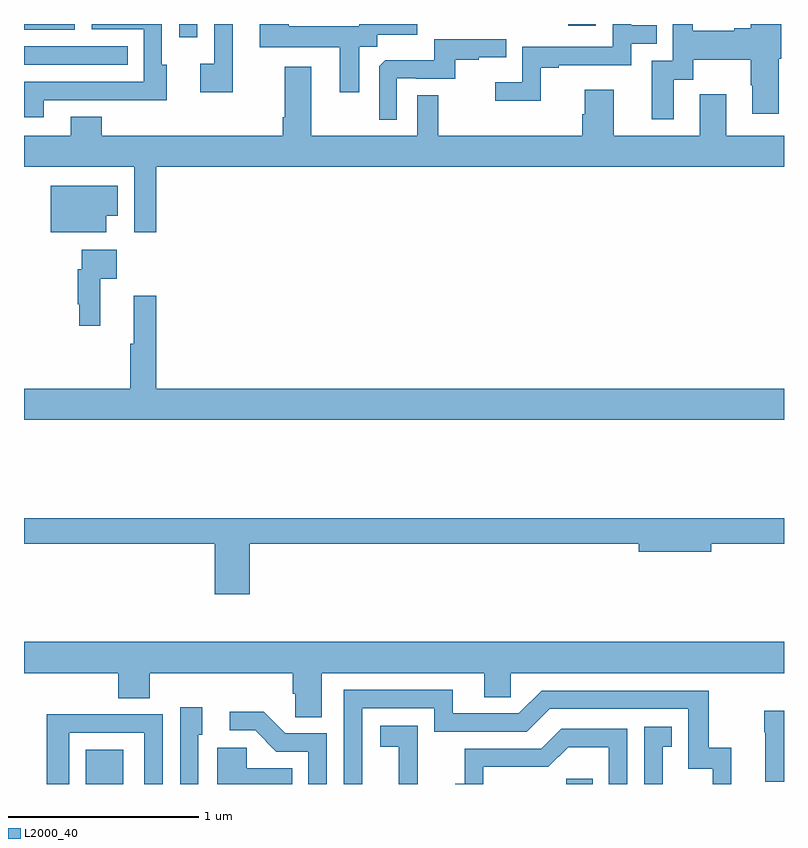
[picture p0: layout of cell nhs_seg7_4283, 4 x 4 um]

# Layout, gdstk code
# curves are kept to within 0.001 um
import gdstk
lib = gdstk.Library(unit=1e-6, precision=1e-09)
def R(c, l, rs):  # rectangles x0, y0, x1, y1
    for r in rs: c.add(gdstk.rectangle(r[:2], r[2:], *l))
def P(c, l, *ps):  # polygons
    for p in ps: c.add(gdstk.Polygon(p, *l))
L2000_40 = (2000, 40)

nhs_seg7_4283 = lib.new_cell('nhs_seg7_4283')
R(nhs_seg7_4283, L2000_40, [(381.326,1032,381.523,1032.181), (383.853,1032,383.993,1032.027), (381,1035.786,381.545,1035.882), (381.816,1035.93,381.912,1036), (381,1035.971,381.268,1036), (383.865,1035.992,384.01,1036)])
P(nhs_seg7_4283, L2000_40, [(384.421,1035.706),(384.523,1035.706),(384.523,1035.812),(384.826,1035.812),(384.826,1035.678),(384.833,1035.678),(384.833,1035.528),(384.973,1035.528),(384.973,1035.816),(384.986,1035.816),(384.986,1036),(384.826,1036),(384.826,1035.977),(384.737,1035.977),(384.737,1035.964),(384.519,1035.964),(384.519,1036),(384.414,1036),(384.414,1035.807),(384.305,1035.807),(384.305,1035.498),(384.421,1035.498)],
  [(382.765,1035.88),(382.86,1035.88),(382.86,1035.944),(383.071,1035.944),(383.071,1036),(382.764,1036),(382.764,1035.988),(382.393,1035.988),(382.393,1036),(382.241,1036),(382.241,1035.878),(382.661,1035.878),(382.661,1035.642),(382.765,1035.642)],
  [(383.721,1035.771),(383.815,1035.771),(383.815,1035.783),(384.195,1035.783),(384.195,1035.897),(384.329,1035.897),(384.329,1035.993),(384.195,1035.993),(384.195,1036),(384.099,1036),(384.099,1035.879),(383.622,1035.879),(383.622,1035.694),(383.481,1035.694),(383.481,1035.596),(383.721,1035.596)],
  [(382.099,1036),(382.002,1036),(382.002,1035.79),(381.927,1035.79),(381.927,1035.642),(382.099,1035.642)],
  [(381.103,1035.6),(381.533,1035.6),(381.533,1035.599),(381.751,1035.599),(381.751,1035.786),(381.726,1035.786),(381.726,1036),(381.357,1036),(381.357,1035.972),(381.63,1035.972),(381.63,1035.696),(381,1035.696),(381,1035.51),(381.103,1035.51)],
  [(382.962,1035.714),(383.062,1035.714),(383.062,1035.711),(383.27,1035.711),(383.27,1035.813),(383.393,1035.813),(383.393,1035.824),(383.537,1035.824),(383.537,1035.921),(383.16,1035.921),(383.16,1035.809),(382.901,1035.809),(382.869,1035.777),(382.869,1035.497),(382.962,1035.497)],
  [(385,1035.412),(384.697,1035.412),(384.697,1035.631),(384.557,1035.631),(384.557,1035.412),(384.103,1035.412),(384.103,1035.655),(383.951,1035.655),(383.951,1035.525),(383.939,1035.525),(383.939,1035.412),(383.179,1035.412),(383.179,1035.626),(383.07,1035.626),(383.07,1035.412),(382.513,1035.412),(382.513,1035.775),(382.373,1035.775),(382.373,1035.508),(382.361,1035.508),(382.361,1035.412),(381.409,1035.412),(381.409,1035.511),(381.245,1035.511),(381.245,1035.412),(381,1035.412),(381,1035.248),(381.579,1035.248),(381.579,1034.904),(381.695,1034.904),(381.695,1035.248),(385,1035.248)],
  [(381.433,1034.99),(381.494,1034.99),(381.494,1035.148),(381.14,1035.148),(381.14,1034.903),(381.433,1034.903)],
  [(381.401,1034.66),(381.487,1034.66),(381.487,1034.812),(381.303,1034.812),(381.303,1034.708),(381.283,1034.708),(381.283,1034.524),(381.291,1034.524),(381.291,1034.412),(381.401,1034.412)],
  [(385,1034.08),(381.695,1034.08),(381.695,1034.569),(381.578,1034.569),(381.578,1034.316),(381.559,1034.316),(381.559,1034.08),(381,1034.08),(381,1033.916),(385,1033.916)],
  [(382.187,1033.264),(384.236,1033.264),(384.236,1033.222),(384.616,1033.222),(384.616,1033.264),(385,1033.264),(385,1033.4),(381,1033.4),(381,1033.264),(382.004,1033.264),(382.004,1032.999),(382.187,1032.999)],
  [(382.567,1032.584),(383.423,1032.584),(383.423,1032.457),(383.562,1032.457),(383.562,1032.584),(385,1032.584),(385,1032.748),(381,1032.748),(381,1032.584),(381.497,1032.584),(381.497,1032.451),(381.662,1032.451),(381.662,1032.584),(382.415,1032.584),(382.415,1032.475),(382.428,1032.475),(382.428,1032.352),(382.567,1032.352)],
  [(382.779,1032.399),(383.16,1032.399),(383.16,1032.276),(383.646,1032.276),(383.766,1032.396),(384.495,1032.396),(384.495,1032.081),(384.624,1032.081),(384.624,1032),(384.722,1032),(384.722,1032.19),(384.604,1032.19),(384.604,1032.492),(383.724,1032.492),(383.604,1032.372),(383.257,1032.372),(383.257,1032.495),(382.683,1032.495),(382.683,1032),(382.779,1032)],
  [(381.918,1032.258),(381.937,1032.258),(381.937,1032.403),(381.822,1032.403),(381.822,1032),(381.918,1032)],
  [(385,1032.385),(384.895,1032.385),(384.895,1032.272),(384.902,1032.272),(384.902,1032.011),(385,1032.011)],
  [(382.593,1032.267),(382.374,1032.267),(382.261,1032.38),(382.083,1032.38),(382.083,1032.282),(382.217,1032.282),(382.328,1032.171),(382.497,1032.171),(382.497,1032),(382.593,1032)],
  [(381.237,1032.27),(381.633,1032.27),(381.633,1032),(381.729,1032),(381.729,1032.366),(381.413,1032.366),(381.413,1032.368),(381.121,1032.368),(381.121,1032),(381.237,1032)],
  [(383.072,1032.101),(383.073,1032.101),(383.073,1032.307),(382.875,1032.307),(382.875,1032.197),(382.973,1032.197),(382.973,1032),(383.072,1032)],
  [(384.361,1032.195),(384.41,1032.195),(384.41,1032.301),(384.264,1032.301),(384.264,1032),(384.361,1032)],
  [(383.418,1032.09),(383.76,1032.09),(383.864,1032.194),(384.078,1032.194),(384.078,1032),(384.174,1032),(384.174,1032.291),(383.828,1032.291),(383.723,1032.186),(383.32,1032.186),(383.32,1032.001),(383.271,1032),(383.418,1032)],
  [(382.412,1032.082),(382.173,1032.082),(382.173,1032.19),(382.016,1032.19),(382.016,1032),(382.412,1032)])

lib.write_gds('nhs_seg7_4283.gds')
